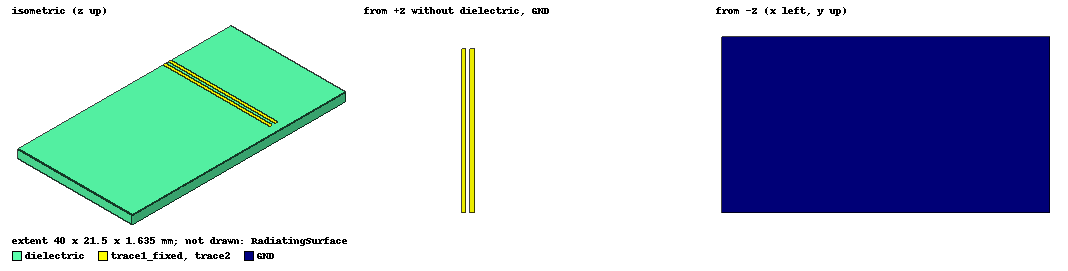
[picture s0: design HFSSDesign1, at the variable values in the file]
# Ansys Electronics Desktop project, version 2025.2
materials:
  vacuum: permittivity=1
  FR4_epoxy: permittivity=4.4 dielectric_loss_tangent=0.02
  pec: conductivity=1e+30
  copper: permeability=0.999991 conductivity=58000000

design HFSSDesign1 (HFSS, HFSS Modal Network, model units mm)
options: open_region{BoundaryType=0 OpFreq=80GHz}
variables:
  Lmm = 20mm
  L = 20mm
  w = 0.5mm
  hf = 1.6mm
  hc = 35um
  d = 0.5mm
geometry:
  dielectric [FR4_epoxy] = box(corner=(-L, -(L+3*w)/2, 0), size=(2*L, L+3*w, hf))
  RadiatingSurface [vacuum] = region(absolute_offset=1.25mm on all sides)
  trace1_fixed [copper] = box(corner=(-L/2+1.25mm, -(L+3*w)/2, hf), size=(w, L, hc))
  trace2 [copper] = box(corner=(-L/2+1.25mm+w+d, -(L+3*w)/2, hf), size=(w, L, hc))
  GND [FR4_epoxy] = object_from(dielectric.face(-z))
  fixed_port = rectangle(corner=(-L/2 +1.25mm, -(L+3*w)/2, 0mm), z_size=hf+hc, x_size=w)
  unfixed_port2 = rectangle(corner=(-L/2 +1.25mm+w+d, -(L+3*w)/2, 0mm), z_size=hf+hc, x_size=w)
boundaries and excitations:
  AutoOpen1: Radiation Objects=RadiatingSurface
  GNDBC: Perfect E Objects=GND
  1: Lumped Port Objects=fixed_port LumpedPortType=Modal Modes{Mode1{IntLine{(-8.5, -10.75, 0) -> (-8.5, -10.75, 1.635)} CharImp=Zpi RenormImp=50ohm}} Impedance=50ohm
  2: Lumped Port Objects=unfixed_port2 LumpedPortType=Modal Modes{Mode1{IntLine{(-7.5, -10.75, 0) -> (-7.5, -10.75, 1.635)} CharImp=Zpi RenormImp=50ohm}} Impedance=50ohm
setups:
  Auto1: HfssDriven Frequency=80GHz MaxDeltaS=0.02 MaximumPasses=6 MinimumPasses=1 MinimumConvergedPasses=1 PercentRefinement=30 BasisOrder=1 PortAccuracy=2 DrivenSolverType="Direct Solver"
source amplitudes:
  1:1: 1W 0deg
  2:1: 0W 0deg
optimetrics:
  ParametricSetup1: Parametric Sim._Setups=[Auto1]
    sweep d: LIN 0.5mm 18mm 0.5mm
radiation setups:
  3D: Infinite Sphere Theta=0deg..180deg step 2deg Phi=-180deg..180deg step 2deg
  Elevation: Infinite Sphere Theta=-180deg..180deg step 1deg Phi=0deg..90deg step 90deg
  Azimuth: Infinite Sphere Theta=90deg..90deg step 0deg Phi=-180deg..180deg step 1deg
